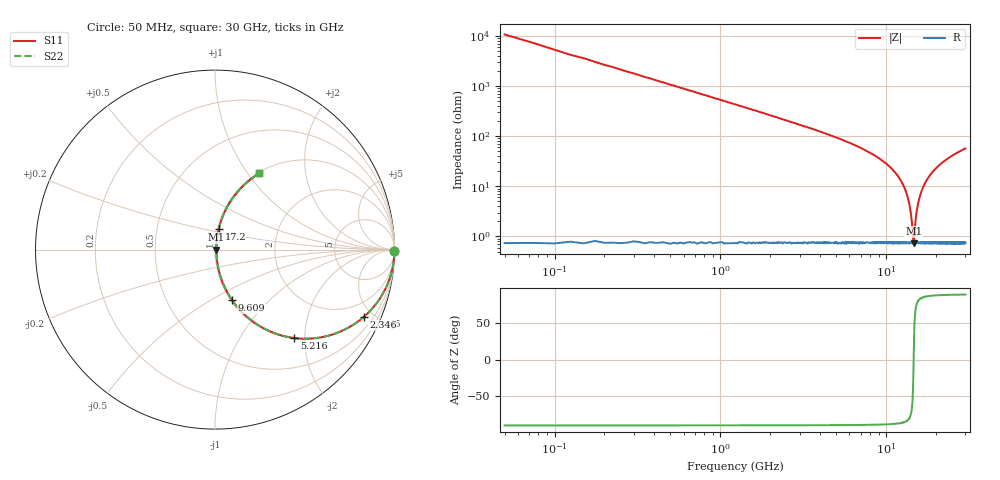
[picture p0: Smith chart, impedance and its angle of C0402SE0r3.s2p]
!	AVX Thin Film Operation 	Date: April 2014
!	Description: Accu-P® Series, Thin Film  SMD RF Capacitor
!	Part Number: 04021J0R3ZBSTR
# MHZ S MA R 50
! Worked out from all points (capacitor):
!   1201 points, 50 MHz to 30 GHz, reference 50 ohm
!   read as one part in series: C = 300 fF near 199.8 MHz
!   lowest |Z| = 727 mohm at 14.63 GHz (marker M1)
!   series resonance near 14.62 GHz, so ESL is about 400 pH
!   S11 on the Smith chart (normalised r, x): 50 MHz: open; 2.346 GHz: 1.02, -4.40; 5.216 GHz: 1.02, -1.77; 9.609 GHz: 1.02, -0.63; 17.2 GHz: 1.01, +0.24; 30 GHz: 1.01, +1.14
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50  1 -0.5  0.009424 89.5  0.009424 89.5  1 -0.5
324.542  0.998 -3.5  0.061 86.5  0.061 86.5  0.998 -3.5
698.917  0.991 -7.5  0.131 82.4  0.131 82.4  0.991 -7.5
1347.833  0.968 -14.4  0.248 75.5  0.248 75.5  0.968 -14.4
2346.167  0.909 -24.4  0.413 65.4  0.413 65.4  0.909 -24.4
5041.667  0.677 -46.9  0.73 42.6  0.73 42.6  0.677 -46.9
5216.375  0.661 -48.1  0.745 41.4  0.745 41.4  0.661 -48.1
9609.042  0.297 -71.3  0.948 17.3  0.948 17.3  0.297 -71.3
10058.29  0.266 -73.0  0.957 15.4  0.957 15.4  0.266 -73.0
11905.21  0.148 -78.7  0.982 8.5  0.982 8.5  0.148 -78.7
13203.04  0.074 -80.0  0.99 4.2  0.99 4.2  0.074 -80.0
13976.75  0.033 -75.3  0.992 1.9  0.992 1.9  0.033 -75.3
14500.88  0.009494 -38.2  0.993 0.3  0.993 0.3  0.009494 -38.2
14625.67  0.00743 2.0  0.993 -0.0  0.993 -0.0  0.00743 2.0
14725.5  0.00904 34.5  0.993 -0.3  0.993 -0.3  0.00904 34.5
15025  0.021 68.2  0.992 -1.1  0.992 -1.1  0.021 68.2
15349.46  0.036 76.0  0.992 -2.0  0.992 -2.0  0.036 76.0
15798.71  0.056 79.2  0.991 -3.2  0.991 -3.2  0.056 79.2
17196.38  0.117 79.7  0.986 -6.7  0.986 -6.7  0.117 79.7
20016.67  0.224 75.2  0.967 -13.0  0.967 -13.0  0.224 75.2
25033.29  0.377 66.8  0.92 -22.1  0.92 -22.1  0.377 66.8
30000  0.491 59.8  0.865 -29.4  0.865 -29.4  0.491 59.8
